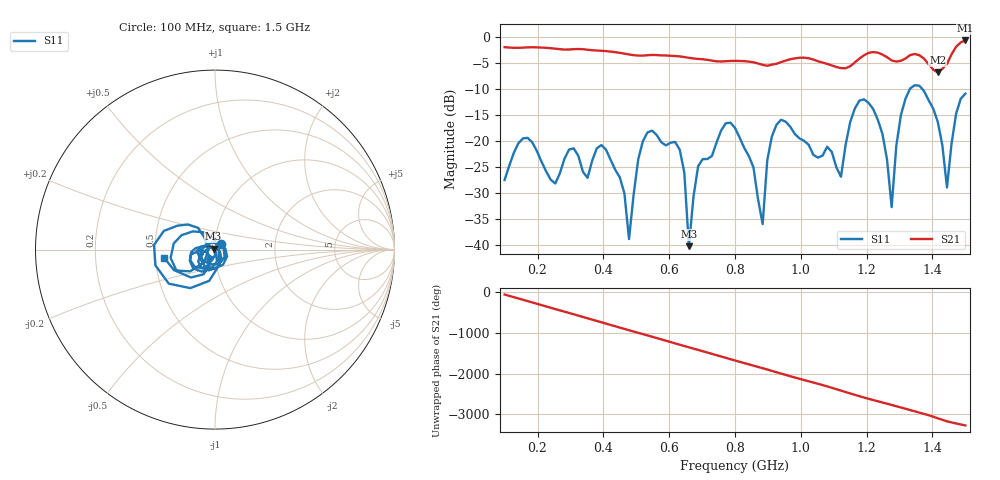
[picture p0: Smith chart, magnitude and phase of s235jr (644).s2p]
! NanoVNA-App
! Date: 2025-09-25 15:09:11
! Start: 100MHz Stop: 1,5GHz Points: 101
! S-Parameter data: F S11 S21 S12 S22
# Hz S RI R 50
!  Frequency  S11_Real  S11_Imag  S21_Real  S21_Imag  S12_Real  S12_Imag  S22_Real  S22_Imag
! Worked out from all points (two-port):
!   101 points, 100 MHz to 1.5 GHz, reference 50 ohm
!   highest |S21| = -0.68 dB at 1.5 GHz (marker M1); lowest = -6.8 dB at 1.416 GHz (marker M2)
!   |S21| within 3 dB of the highest: start of sweep to 619.7 MHz; 1.189 GHz to 1.256 GHz (67.5 MHz wide, 5.52 % of centre) (the widest 2 of 4)
!   lowest |S11| = -40.2 dB at 660 MHz (marker M3), VSWR 1.02, Z = 49.2 + j0.553 ohm
!   |S11| at or under -10 dB: start of sweep to 1.331 GHz; 1.369 GHz to end of sweep
!   S12 and S22 are empty: the file has one direction only
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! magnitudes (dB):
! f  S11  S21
! 100 MHz  -27.5  -2.0
! 156 MHz  -19.5  -2.1
! 338 MHz  -25.9  -2.4
! 408 MHz  -21.6  -2.7
! 478 MHz  -38.8  -3.4
! 520 MHz  -20.0  -3.6
! 576 MHz  -20.2  -3.5
! 632 MHz  -21.6  -3.7
! 660 MHz  -40.2  -4.0
! 688 MHz  -24.8  -4.2
! 800 MHz  -17.5  -4.6
! 884 MHz  -36.0  -5.4
! 926 MHz  -16.9  -5.2
! 1.038 GHz  -22.6  -4.3
! 1.122 GHz  -26.9  -6.0
! 1.192 GHz  -12.0  -3.5
! 1.248 GHz  -18.6  -3.4
! 1.276 GHz  -32.7  -4.5
! 1.332 GHz  -9.9  -3.5
! 1.416 GHz  -16.3  -6.8
! 1.444 GHz  -28.9  -5.2
! 1.5 GHz  -10.9  -0.7
